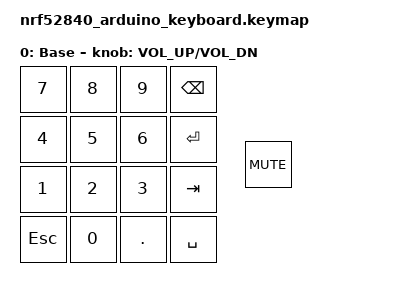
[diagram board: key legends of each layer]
#include <behaviors.dtsi>
#include <dt-bindings/zmk/keys.h>

/ {
    combos {
        compatible = "zmk,combos";

        studio_unlock_combo {
            timeout-ms = <50>;
            key-positions = <12 15>;
            bindings = <&studio_unlock>;
        };
    };

    keymap {
        compatible = "zmk,keymap";

        default_layer {
            display-name = "Base";
            bindings = <
                &kp N7     &kp N8     &kp N9      &kp BSPC
                &kp N4     &kp N5     &kp N6      &kp RET
                &kp N1     &kp N2     &kp N3      &kp TAB
                &kp ESC    &kp N0     &kp DOT     &kp SPACE
                &kp C_MUTE
            >;

            sensor-bindings = <&inc_dec_kp C_VOL_UP C_VOL_DN>;
        };
    };
};
